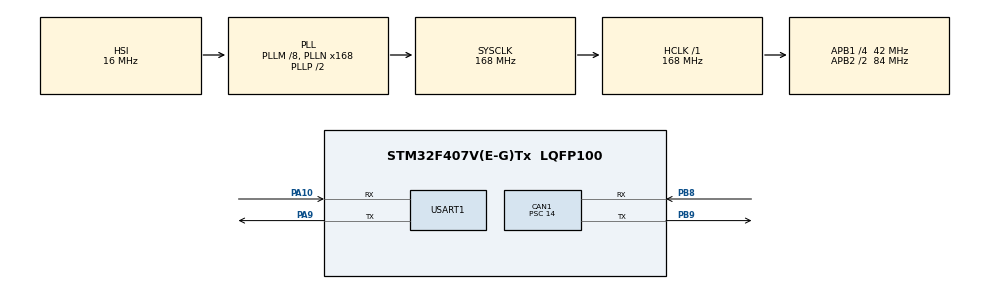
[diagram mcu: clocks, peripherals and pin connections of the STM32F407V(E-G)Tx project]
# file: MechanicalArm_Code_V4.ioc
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CAN1.AWUM=ENABLE
CAN1.BS1=CAN_BS1_4TQ
CAN1.CalculateBaudRate=499999
CAN1.CalculateTimeBit=2000
CAN1.CalculateTimeQuantum=333.33333333333337
CAN1.NART=ENABLE
CAN1.Prescaler=14
FREERTOS.Tasks01=defaultTask,24,128,StartDefaultTask,Default,NULL,Dynamic,NULL,NULL
FREERTOS.configENABLE_FPU=1
Mcu.Family=STM32F4
Mcu.Name=STM32F407V(E-G)Tx
Mcu.Package=LQFP100
NVIC.CAN1_RX0_IRQn=true\:6\:0\:true\:false\:true\:true\:true\:true\:true
NVIC.CAN1_RX1_IRQn=true\:6\:0\:true\:false\:true\:true\:true\:true\:true
NVIC.PriorityGroup=NVIC_PRIORITYGROUP_4
NVIC.TIM1_UP_TIM10_IRQn=true\:5\:0\:true\:false\:true\:true\:true\:true\:true
NVIC.TIM6_DAC_IRQn=true\:15\:0\:false\:false\:true\:false\:false\:true\:true
NVIC.TimeBase=TIM6_DAC_IRQn
NVIC.TimeBaseIP=TIM6
NVIC.USART1_IRQn=true\:6\:0\:true\:false\:true\:true\:true\:true\:true
PA10.Mode=Asynchronous
PA10.Signal=USART1_RX
PA13.Mode=Serial_Wire
PA13.Signal=SYS_JTMS-SWDIO
PA14.Mode=Serial_Wire
PA14.Signal=SYS_JTCK-SWCLK
PA9.Mode=Asynchronous
PA9.Signal=USART1_TX
PB8.Mode=CAN_Activate
PB8.Signal=CAN1_RX
PB9.Mode=CAN_Activate
PB9.Signal=CAN1_TX
PH0-OSC_IN.Mode=HSE-External-Oscillator
PH0-OSC_IN.Signal=RCC_OSC_IN
PH1-OSC_OUT.Mode=HSE-External-Oscillator
PH1-OSC_OUT.Signal=RCC_OSC_OUT
ProjectManager.HeapSize=0x200
ProjectManager.StackSize=0x400
ProjectManager.TargetToolchain=CMake
RCC.48MHZClocksFreq_Value=84000000
RCC.AHBFreq_Value=168000000
RCC.APB1CLKDivider=RCC_HCLK_DIV4
RCC.APB1Freq_Value=42000000
RCC.APB1TimFreq_Value=84000000
RCC.APB2CLKDivider=RCC_HCLK_DIV2
RCC.APB2Freq_Value=84000000
RCC.APB2TimFreq_Value=168000000
RCC.CortexFreq_Value=168000000
RCC.HCLKFreq_Value=168000000
RCC.HSE_VALUE=8000000
RCC.HSI_VALUE=16000000
RCC.LSE_VALUE=32768
RCC.PLLM=8
RCC.PLLN=168
RCC.SYSCLKFreq_VALUE=168000000
RCC.SYSCLKSource=RCC_SYSCLKSOURCE_PLLCLK
RCC.VCOOutputFreq_Value=336000000
TIM1.AutoReloadPreload=TIM_AUTORELOAD_PRELOAD_ENABLE
TIM1.Period=99
TIM1.Prescaler=16799
USART1.VirtualMode=VM_ASYNC
VP_FREERTOS_VS_CMSIS_V2.Mode=CMSIS_V2
VP_SYS_VS_tim6.Mode=TIM6
VP_TIM1_VS_ClockSourceINT.Mode=Internal
board=custom

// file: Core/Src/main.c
/* USER CODE BEGIN Header */
/**
  ******************************************************************************
  * @file           : main.c
  * @brief          : Main program body
  ******************************************************************************
  * @attention
  *
  * Copyright (c) 2026 STMicroelectronics.
  * All rights reserved.
  *
  * This software is licensed under terms that can be found in the LICENSE file
  * in the root directory of this software component.
  * If no LICENSE file comes with this software, it is provided AS-IS.
  *
  ******************************************************************************
  */
/* USER CODE END Header */
#include "main.h"
#include "cmsis_os.h"
#include "can.h"
#include "tim.h"
#include "usart.h"
#include "gpio.h"

/* USER CODE BEGIN Includes */
#include "CppMain.h"
#include "stdbool.h"

#ifdef __cplusplus
extern "C" {
#endif
  void CPP_TIM_PeriodElapsedCallback(TIM_HandleTypeDef *htim);
#ifdef __cplusplus
}
#endif
/* USER CODE END Includes */

void SystemClock_Config(void);
void MX_FREERTOS_Init(void);

int main(void)
{

  /* MCU Configuration--------------------------------------------------------*/

  /* Reset of all peripherals, Initializes the Flash interface and the Systick. */
  HAL_Init();

  /* Configure the system clock */
  SystemClock_Config();

  /* Initialize all configured peripherals */
  MX_GPIO_Init();
  MX_CAN1_Init();
  MX_TIM1_Init();
  MX_USART1_UART_Init();
  /* USER CODE BEGIN 2 */
  //初始化
  MyCAN1_FilterInit();
  HAL_CAN_Start(&hcan1);
  HAL_CAN_ActivateNotification(&hcan1, CAN_IT_RX_FIFO0_MSG_PENDING);
  HAL_CAN_ActivateNotification(&hcan1, CAN_IT_RX_FIFO1_MSG_PENDING);

  HAL_UART_Receive_IT(&huart1,&uart1.rx_byte,1);//开启串口接收中断
  HAL_Delay(100);

  /* USER CODE END 2 */

  /* Init scheduler */
  osKernelInitialize();  /* Call init function for freertos objects (in cmsis_os2.c) */
  MX_FREERTOS_Init();

  /* Start scheduler */
  osKernelStart();

  /* We should never get here as control is now taken by the scheduler */

  /* Infinite loop */
  while (1)
  {

  }
}

void SystemClock_Config(void)
{
  RCC_OscInitTypeDef RCC_OscInitStruct = {0};
  RCC_ClkInitTypeDef RCC_ClkInitStruct = {0};

  /** Configure the main internal regulator output voltage
  */
  __HAL_RCC_PWR_CLK_ENABLE();
  __HAL_PWR_VOLTAGESCALING_CONFIG(PWR_REGULATOR_VOLTAGE_SCALE1);

  /** Initializes the RCC Oscillators according to the specified parameters
  * in the RCC_OscInitTypeDef structure.
  */
  RCC_OscInitStruct.OscillatorType = RCC_OSCILLATORTYPE_HSI;
  RCC_OscInitStruct.HSIState = RCC_HSI_ON;
  RCC_OscInitStruct.HSICalibrationValue = RCC_HSICALIBRATION_DEFAULT;
  RCC_OscInitStruct.PLL.PLLState = RCC_PLL_ON;
  RCC_OscInitStruct.PLL.PLLSource = RCC_PLLSOURCE_HSI;
  RCC_OscInitStruct.PLL.PLLM = 8;
  RCC_OscInitStruct.PLL.PLLN = 168;
  RCC_OscInitStruct.PLL.PLLP = RCC_PLLP_DIV2;
  RCC_OscInitStruct.PLL.PLLQ = 4;
  if (HAL_RCC_OscConfig(&RCC_OscInitStruct) != HAL_OK)
  {
    Error_Handler();
  }

  /** Initializes the CPU, AHB and APB buses clocks
  */
  RCC_ClkInitStruct.ClockType = RCC_CLOCKTYPE_HCLK|RCC_CLOCKTYPE_SYSCLK
                              |RCC_CLOCKTYPE_PCLK1|RCC_CLOCKTYPE_PCLK2;
  RCC_ClkInitStruct.SYSCLKSource = RCC_SYSCLKSOURCE_PLLCLK;
  RCC_ClkInitStruct.AHBCLKDivider = RCC_SYSCLK_DIV1;
  RCC_ClkInitStruct.APB1CLKDivider = RCC_HCLK_DIV4;
  RCC_ClkInitStruct.APB2CLKDivider = RCC_HCLK_DIV2;

  if (HAL_RCC_ClockConfig(&RCC_ClkInitStruct, FLASH_LATENCY_5) != HAL_OK)
  {
    Error_Handler();
  }
}

void HAL_TIM_PeriodElapsedCallback(TIM_HandleTypeDef *htim)
{
  /* USER CODE BEGIN Callback 0 */
  CPP_TIM_PeriodElapsedCallback(htim);

  /* USER CODE END Callback 0 */
  if (htim->Instance == TIM6)
  {
    HAL_IncTick();
  }
}

void Error_Handler(void)
{
  __disable_irq();
  while (1)
  {
  }
}

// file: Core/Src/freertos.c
/* USER CODE BEGIN Header */
/**
  ******************************************************************************
  * File Name          : freertos.c
  * Description        : Code for freertos applications
  ******************************************************************************
  * @attention
  *
  * Copyright (c) 2026 STMicroelectronics.
  * All rights reserved.
  *
  * This software is licensed under terms that can be found in the LICENSE file
  * in the root directory of this software component.
  * If no LICENSE file comes with this software, it is provided AS-IS.
  *
  ******************************************************************************
  */
/* USER CODE END Header */

#include "FreeRTOS.h"
#include "task.h"
#include "main.h"
#include "cmsis_os.h"

/* USER CODE BEGIN Includes */
#include "CppMain.h"
/* USER CODE END Includes */

/* Definitions for defaultTask */
// osThreadId_t defaultTaskHandle;
// const osThreadAttr_t defaultTask_attributes = {
//   .name = "defaultTask",
//   .stack_size = 128 * 4,
//   .priority = (osPriority_t) osPriorityNormal,
// };

void StartDefaultTask(void *argument);

void MX_FREERTOS_Init(void); /* (MISRA C 2004 rule 8.1) */

void MX_FREERTOS_Init(void) {

  /* Create the thread(s) */
  /* creation of defaultTask */
  // defaultTaskHandle = osThreadNew(StartDefaultTask, NULL, &defaultTask_attributes);

  /* USER CODE BEGIN RTOS_THREADS */
  /* add threads, ... */
  CppMain();
  /* USER CODE END RTOS_THREADS */

}

// void StartDefaultTask(void *argument)
// {
//   /* USER CODE BEGIN StartDefaultTask */
//   /* Infinite loop */
//   for(;;)
//   {
//     osDelay(1);
//   }
//   /* USER CODE END StartDefaultTask */
// }
